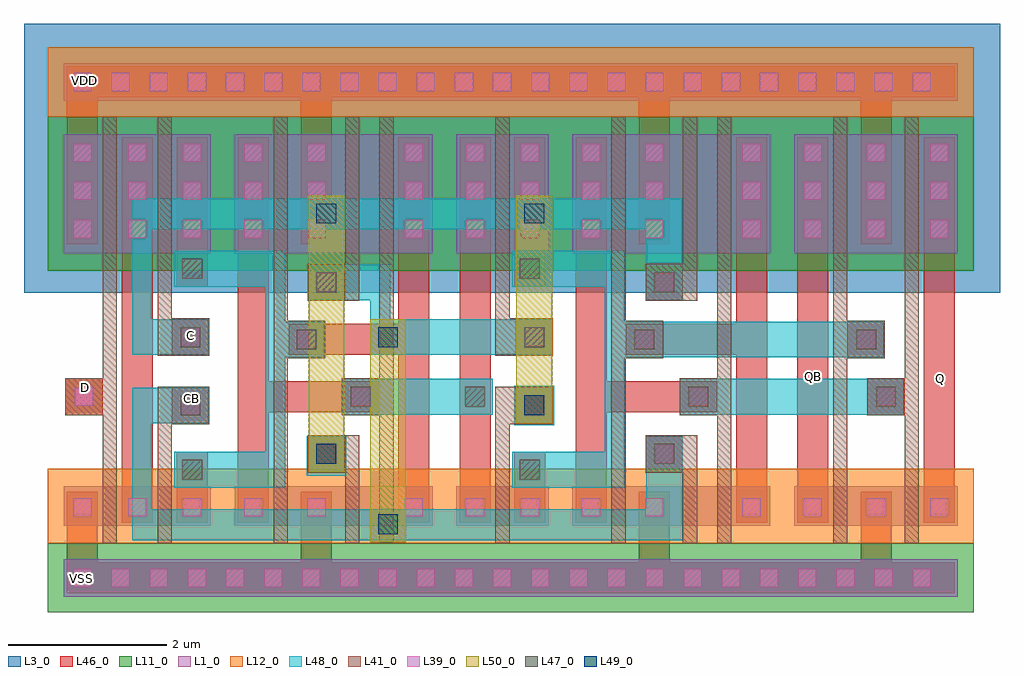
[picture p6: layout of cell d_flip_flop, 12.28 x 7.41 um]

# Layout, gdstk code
import gdstk
lib = gdstk.Library(unit=1e-6, precision=1e-09)
def R(c, l, rs):  # rectangles x0, y0, x1, y1
    for r in rs: c.add(gdstk.rectangle(r[:2], r[2:], *l))
def A(c, l, x, y, w, h, nx, ny, dx, dy):  # array of equal rectangles
    R(c, l, [(x+i*dx, y+j*dy, x+i*dx+w, y+j*dy+h) for i in range(nx) for j in range(ny)])
L1_0 = (1, 0)
L3_0 = (3, 0)
L11_0 = (11, 0)
L12_0 = (12, 0)
L39_0 = (39, 0)
L41_0 = (41, 0)
L46_0 = (46, 0)
L47_0 = (47, 0)
L48_0 = (48, 0)
L49_0 = (49, 0)
L50_0 = (50, 0)

d_flip_flop = lib.new_cell('d_flip_flop')
R(d_flip_flop, L1_0, [(-1.045,-3.27,10.205,-2.8), (-1.045,-2.38,0.805,-1.88), (1.105,-2.38,3.595,-1.88), (3.895,-2.38,5.055,-1.88), (5.355,-2.38,7.845,-1.88), (8.145,-2.38,10.205,-1.88), (-1.045,1.05,0.805,2.55), (1.105,1.05,3.595,2.55), (3.895,1.05,5.055,2.55), (5.355,1.05,7.845,2.55), (8.145,1.05,10.205,2.55), (-1.045,2.97,10.205,3.44)])
R(d_flip_flop, L3_0, [(-1.545,0.55,10.735,3.94)])
R(d_flip_flop, L11_0, [(-1.245,-3.47,10.405,-2.6), (-1.245,0.83,10.405,2.77)])
R(d_flip_flop, L12_0, [(-1.245,-2.6,10.405,-1.66), (-1.245,2.77,10.405,3.64)])
A(d_flip_flop, L39_0, -0.925, -3.15, 0.23, 0.23, 23, 2, 0.48, 6.24)
A(d_flip_flop, L39_0, -0.925, -2.26, 0.23, 0.23, 3, 2, 0.69, 3.5)
A(d_flip_flop, L39_0, 8.265, -2.26, 0.23, 0.23, 3, 2, 0.795, 3.5)
A(d_flip_flop, L39_0, 1.225, 1.24, 0.23, 0.23, 1, 3, 0, 0.48)
A(d_flip_flop, L39_0, 2.02, 1.24, 0.23, 0.23, 1, 3, 0, 0.48)
A(d_flip_flop, L39_0, 3.245, 1.24, 0.23, 0.23, 1, 3, 0, 0.48)
A(d_flip_flop, L39_0, 4.015, 1.24, 0.23, 0.23, 1, 3, 0, 0.48)
A(d_flip_flop, L39_0, 4.705, 1.24, 0.23, 0.23, 1, 3, 0, 0.48)
A(d_flip_flop, L39_0, 5.475, 1.24, 0.23, 0.23, 1, 3, 0, 0.48)
A(d_flip_flop, L39_0, 6.27, 1.24, 0.23, 0.23, 1, 3, 0, 0.48)
A(d_flip_flop, L39_0, 7.495, 1.24, 0.23, 0.23, 1, 3, 0, 0.48)
A(d_flip_flop, L39_0, -0.925, 1.72, 0.23, 0.23, 3, 2, 0.69, 0.48)
A(d_flip_flop, L39_0, 8.265, 1.72, 0.23, 0.23, 3, 2, 0.795, 0.48)
R(d_flip_flop, L39_0, [(1.225,-2.26,1.455,-2.03), (2.02,-2.26,2.25,-2.03), (3.245,-2.26,3.475,-2.03), (4.015,-2.26,4.245,-2.03), (4.705,-2.26,4.935,-2.03), (5.475,-2.26,5.705,-2.03), (6.27,-2.26,6.5,-2.03), (7.495,-2.26,7.725,-2.03), (2.145,-1.59,2.375,-1.36), (6.395,-1.59,6.625,-1.36), (0.435,-0.98,0.665,-0.75), (4.76,-0.98,4.99,-0.75), (-0.905,-0.87,-0.675,-0.64), (2.575,-0.87,2.805,-0.64), (6.825,-0.87,7.055,-0.64), (9.185,-0.87,9.415,-0.64), (1.895,-0.15,2.125,0.08), (6.145,-0.15,6.375,0.08), (8.935,-0.15,9.165,0.08), (0.435,-0.12,0.665,0.11), (4.76,-0.12,4.99,0.11), (2.145,0.57,2.375,0.8), (6.395,0.57,6.625,0.8)])
R(d_flip_flop, L41_0, [(-0.555,-2.6,-0.375,2.77), (0.135,-2.6,0.315,-0.63), (1.595,-2.6,1.775,2.77), (2.495,-2.6,2.675,-1.24), (2.925,-2.6,3.105,2.77), (4.385,-2.6,4.565,-0.63), (5.845,-2.6,6.025,2.77), (6.745,-2.6,6.925,-1.24), (7.175,-2.6,7.355,2.77), (8.635,-2.6,8.815,2.77), (9.535,-2.6,9.715,2.77), (2.025,-1.71,2.495,-1.24), (6.275,-1.71,6.745,-1.24), (0.315,-1.1,0.785,-0.63), (4.565,-1.1,5.11,-0.63), (-1.025,-0.99,-0.555,-0.52), (2.455,-0.99,2.925,-0.52), (6.705,-0.99,7.175,-0.52), (9.065,-0.99,9.535,-0.52), (1.775,-0.27,2.245,0.2), (6.025,-0.27,6.495,0.2), (8.815,-0.27,9.285,0.2), (0.135,-0.24,0.315,2.77), (0.315,-0.24,0.785,0.23), (4.385,-0.24,4.565,2.77), (4.565,-0.24,5.11,0.23), (2.025,0.45,2.495,0.92), (2.495,0.45,2.675,2.77), (6.275,0.45,6.745,0.92), (6.745,0.45,6.925,2.77)])
R(d_flip_flop, L46_0, [(-1.005,-3.23,10.165,-2.84), (-1.005,-3.23,-0.615,-1.95), (1.94,-3.23,2.33,-1.95), (6.19,-3.23,6.58,-1.95), (8.98,-3.23,9.37,-1.95), (-0.315,-2.34,0.075,2.51), (0.375,-2.34,0.765,-1.45), (1.145,-2.34,1.535,2.51), (3.165,-2.34,3.555,2.51), (3.935,-2.34,4.325,2.51), (4.625,-2.34,5.015,-1.45), (5.395,-2.34,5.785,2.51), (7.415,-2.34,7.805,2.51), (8.185,-2.34,8.575,2.51), (9.775,-2.34,10.165,2.51), (2.025,-1.71,2.495,-1.24), (6.275,-1.71,6.745,-1.24), (0.315,-1.1,0.785,-0.63), (4.64,-1.1,5.11,-0.63), (-1.025,-0.99,-0.555,-0.52), (9.065,-0.99,9.535,-0.52), (1.145,-0.95,2.925,-0.56), (5.395,-0.95,7.175,-0.56), (8.815,-0.27,9.285,0.2), (0.315,-0.24,0.785,0.23), (4.64,-0.24,5.11,0.23), (1.785,-0.23,3.555,0.16), (6.025,-0.23,7.805,0.16), (2.025,0.45,2.495,0.92), (6.275,0.45,6.745,0.92), (0.375,0.63,0.765,2.51), (4.625,0.63,5.015,2.51), (-1.005,1.16,-0.615,3.4), (1.94,1.16,2.33,3.4), (6.19,1.16,6.58,3.4), (8.98,1.16,9.37,3.4), (-1.005,3.01,10.165,3.4)])
R(d_flip_flop, L47_0, [(0.445,-1.8,0.695,-1.55), (4.695,-1.8,4.945,-1.55), (2.135,-1.6,2.385,-1.35), (6.385,-1.6,6.635,-1.35), (0.425,-0.99,0.675,-0.74), (4.75,-0.99,5,-0.74), (2.565,-0.88,2.815,-0.63), (4.005,-0.88,4.255,-0.63), (6.815,-0.88,7.065,-0.63), (9.175,-0.88,9.425,-0.63), (1.885,-0.16,2.135,0.09), (6.135,-0.16,6.385,0.09), (8.925,-0.16,9.175,0.09), (0.425,-0.13,0.675,0.12), (4.75,-0.13,5,0.12), (2.135,0.56,2.385,0.81), (6.385,0.56,6.635,0.81), (0.445,0.73,0.695,0.98), (4.695,0.73,4.945,0.98)])
R(d_flip_flop, L48_0, [(-0.185,-2.56,0.065,-0.64), (-0.185,-2.56,6.745,-2.17), (6.285,-2.56,6.745,-1.25), (0.345,-1.9,1.74,-1.45), (1.49,-1.9,1.74,1.08), (4.595,-1.9,6.015,-1.45), (5.765,-1.9,6.015,1.08), (2.01,-1.75,2.51,-1.25), (4.625,-1.115,5.125,-0.615), (-0.185,-1.09,0.775,-0.64), (2.465,-0.98,4.355,-0.53), (6.715,-0.98,9.525,-0.53), (1.49,-0.26,2.235,0.19), (5.765,-0.26,9.275,0.19), (-0.185,-0.23,0.775,0.22), (-0.185,-0.23,0.065,1.74), (2.81,-0.23,5.1,0.22), (2.81,-0.23,3.06,0.91), (2.035,0.46,3.06,0.91), (6.285,0.46,6.735,1.74), (0.345,0.63,1.74,1.08), (4.595,0.63,6.015,1.08), (-0.185,1.35,6.735,1.74)])
R(d_flip_flop, L49_0, [(2.91,-2.485,3.16,-2.235), (2.135,-1.6,2.385,-1.35), (4.75,-0.99,5,-0.74), (2.91,-0.13,3.16,0.12), (2.135,1.425,2.385,1.675), (4.75,1.425,5,1.675)])
R(d_flip_flop, L50_0, [(2.81,-2.585,3.26,0.22), (2.035,-1.7,2.485,1.775), (4.65,-1.09,5.1,1.775)])
d_flip_flop.add(gdstk.Label('QB', (8.39,-0.5), layer=101, texttype=0))
d_flip_flop.add(gdstk.Label('Q', (9.985,-0.52), layer=101, texttype=0))
d_flip_flop.add(gdstk.Label('D', (-0.775,-0.645), layer=101, texttype=0))
d_flip_flop.add(gdstk.Label('VDD', (-0.78,3.225), layer=101, texttype=0))
d_flip_flop.add(gdstk.Label('VSS', (-0.825,-3.04), layer=101, texttype=0))
d_flip_flop.add(gdstk.Label('C', (0.55,0.015), layer=102, texttype=0))
d_flip_flop.add(gdstk.Label('CB', (0.56,-0.775), layer=102, texttype=0))

lib.write_gds('d_flip_flop.gds')
